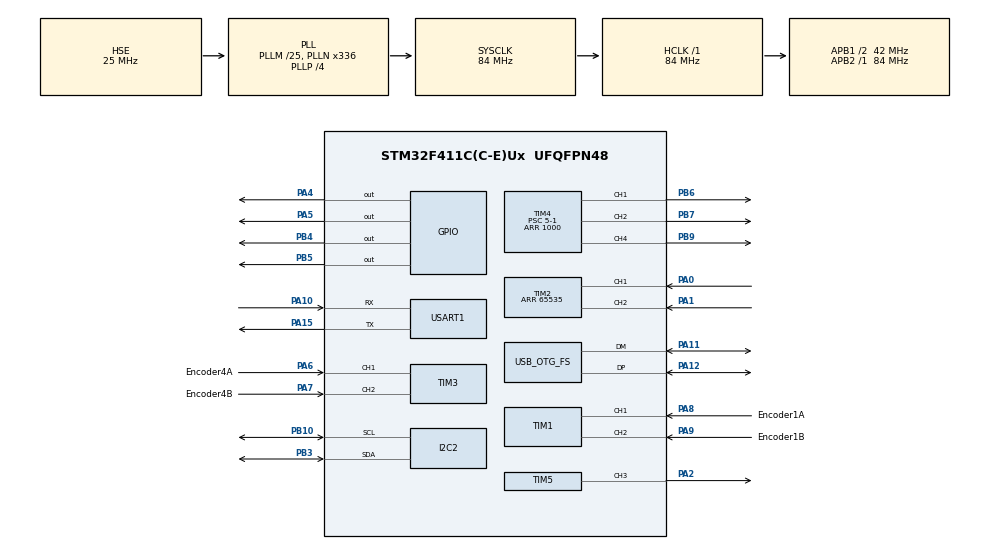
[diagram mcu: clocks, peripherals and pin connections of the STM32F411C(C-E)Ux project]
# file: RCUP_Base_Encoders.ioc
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Dma.Request0=USART1_RX
Dma.USART1_RX.0.Direction=DMA_PERIPH_TO_MEMORY
Dma.USART1_RX.0.FIFOMode=DMA_FIFOMODE_DISABLE
Dma.USART1_RX.0.Instance=DMA2_Stream2
Dma.USART1_RX.0.MemDataAlignment=DMA_MDATAALIGN_BYTE
Dma.USART1_RX.0.MemInc=DMA_MINC_ENABLE
Dma.USART1_RX.0.Mode=DMA_CIRCULAR
Dma.USART1_RX.0.PeriphDataAlignment=DMA_PDATAALIGN_BYTE
Dma.USART1_RX.0.PeriphInc=DMA_PINC_DISABLE
Dma.USART1_RX.0.Priority=DMA_PRIORITY_LOW
Mcu.Family=STM32F4
Mcu.Name=STM32F411C(C-E)Ux
Mcu.Package=UFQFPN48
NVIC.DMA2_Stream2_IRQn=true\:0\:0\:false\:false\:true\:false\:true\:true
NVIC.OTG_FS_IRQn=true\:0\:0\:false\:false\:true\:false\:true\:true
NVIC.PriorityGroup=NVIC_PRIORITYGROUP_4
PA0-WKUP.Signal=S_TIM2_CH1_ETR
PA1.Signal=S_TIM2_CH2
PA10.Mode=Asynchronous
PA10.Signal=USART1_RX
PA11.Mode=Device_Only
PA11.Signal=USB_OTG_FS_DM
PA12.Mode=Device_Only
PA12.Signal=USB_OTG_FS_DP
PA15.Mode=Asynchronous
PA15.Signal=USART1_TX
PA2.Signal=S_TIM5_CH3
PA4.Signal=GPIO_Output
PA5.Signal=GPIO_Output
PA6.GPIO_Label=Encoder4A
PA6.GPIO_PuPd=GPIO_PULLUP
PA6.Signal=S_TIM3_CH1
PA7.GPIO_Label=Encoder4B
PA7.GPIO_PuPd=GPIO_PULLUP
PA7.Signal=S_TIM3_CH2
PA8.GPIO_Label=Encoder1A
PA8.GPIO_PuPd=GPIO_PULLUP
PA8.Signal=S_TIM1_CH1
PA9.GPIO_Label=Encoder1B
PA9.GPIO_PuPd=GPIO_PULLUP
PA9.Signal=S_TIM1_CH2
PB10.GPIO_Pu=GPIO_PULLUP
PB10.Mode=I2C
PB10.Signal=I2C2_SCL
PB3.GPIO_Pu=GPIO_PULLUP
PB3.Mode=I2C
PB3.Signal=I2C2_SDA
PB4.Signal=GPIO_Output
PB5.Signal=GPIO_Output
PB6.Signal=S_TIM4_CH1
PB7.Signal=S_TIM4_CH2
PB9.Signal=S_TIM4_CH4
PH0\ -\ OSC_IN.Mode=HSE-External-Oscillator
PH0\ -\ OSC_IN.Signal=RCC_OSC_IN
PH1\ -\ OSC_OUT.Mode=HSE-External-Oscillator
PH1\ -\ OSC_OUT.Signal=RCC_OSC_OUT
ProjectManager.HeapSize=0x200
ProjectManager.StackSize=0x400
ProjectManager.TargetToolchain=STM32CubeIDE
RCC.48MHZClocksFreq_Value=48000000
RCC.AHBFreq_Value=84000000
RCC.APB1CLKDivider=RCC_HCLK_DIV2
RCC.APB1Freq_Value=42000000
RCC.APB1TimFreq_Value=84000000
RCC.APB2Freq_Value=84000000
RCC.APB2TimFreq_Value=84000000
RCC.CortexFreq_Value=84000000
RCC.HCLKFreq_Value=84000000
RCC.HSE_VALUE=25000000
RCC.HSI_VALUE=16000000
RCC.LSE_VALUE=32768
RCC.PLLM=25
RCC.PLLN=336
RCC.PLLP=RCC_PLLP_DIV4
RCC.PLLQ=7
RCC.SYSCLKFreq_VALUE=84000000
RCC.SYSCLKSource=RCC_SYSCLKSOURCE_PLLCLK
RCC.VCOOutputFreq_Value=336000000
SH.S_TIM1_CH1.0=TIM1_CH1,Encoder_Interface
SH.S_TIM1_CH2.0=TIM1_CH2,Encoder_Interface
SH.S_TIM2_CH1_ETR.0=TIM2_CH1,Encoder_Interface
SH.S_TIM2_CH2.0=TIM2_CH2,Encoder_Interface
SH.S_TIM3_CH1.0=TIM3_CH1,Encoder_Interface
SH.S_TIM3_CH2.0=TIM3_CH2,Encoder_Interface
SH.S_TIM4_CH1.0=TIM4_CH1,PWM Generation1 CH1
SH.S_TIM4_CH2.0=TIM4_CH2,PWM Generation2 CH2
SH.S_TIM4_CH4.0=TIM4_CH4,PWM Generation4 CH4
SH.S_TIM5_CH3.0=TIM5_CH3,PWM Generation3 CH3
TIM1.AutoReloadPreload=TIM_AUTORELOAD_PRELOAD_ENABLE
TIM1.EncoderMode=TIM_ENCODERMODE_TI12
TIM1.IC1Filter=5
TIM1.IC2Filter=5
TIM2.AutoReloadPreload=TIM_AUTORELOAD_PRELOAD_ENABLE
TIM2.EncoderMode=TIM_ENCODERMODE_TI12
TIM2.IC1Filter=5
TIM2.Period=65535
TIM3.AutoReloadPreload=TIM_AUTORELOAD_PRELOAD_ENABLE
TIM3.EncoderMode=TIM_ENCODERMODE_TI12
TIM3.IC1Filter=5
TIM3.IC2Filter=5
TIM4.Channel-PWM\ Generation1\ CH1=TIM_CHANNEL_1
TIM4.Channel-PWM\ Generation2\ CH2=TIM_CHANNEL_2
TIM4.Channel-PWM\ Generation4\ CH4=TIM_CHANNEL_4
TIM4.Period=1000
TIM4.Prescaler=5-1
TIM5.Channel-PWM\ Generation3\ CH3=TIM_CHANNEL_3
TIM5.Period=1000
TIM5.Prescaler=5-1
USART1.VirtualMode=VM_ASYNC
USB_DEVICE.CLASS_NAME_FS=CDC
USB_DEVICE.VirtualMode=Cdc
USB_DEVICE.VirtualModeFS=Cdc_FS
USB_OTG_FS.VirtualMode=Device_Only
VP_USB_DEVICE_VS_USB_DEVICE_CDC_FS.Mode=CDC_FS
board=custom

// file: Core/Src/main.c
/* USER CODE BEGIN Header */
/**
  ******************************************************************************
  * @file           : main.c
  * @brief          : Main program body
  ******************************************************************************
  * @attention
  *
  * Copyright (c) 2025 STMicroelectronics.
  * All rights reserved.
  *
  * This software is licensed under terms that can be found in the LICENSE file
  * in the root directory of this software component.
  * If no LICENSE file comes with this software, it is provided AS-IS.
  *
  ******************************************************************************
  */
/* USER CODE END Header */
#include "main.h"
#include "usb_device.h"

/* USER CODE BEGIN Includes */
#include "stdio.h"
#include "usbd_cdc_if.h"
#include "usbd_cdc.h"
#include "string.h"
#include "math.h"   // for DEG2RAD
#include <stdlib.h>

#include "bno055.h"     // <--- ADD THIS
#include "cJSON.h"      // <--- ADD THIS
#include "stdio.h"
#include "usbd_cdc_if.h"
#include "bno055.h"
#include "bno055_stm32.h"
#include "usbd_cdc.h"
#include "string.h"
#include "math.h"   // for DEG2RAD
#include <stdlib.h>

#include "cJSON.h"
/* USER CODE END Includes */

/* USER CODE BEGIN PD */
#define ONE_PERIOD 65536
#define HALF_PERIOD 32768
#define NUM_ENCODERS 3   // Number of encoders

#define DEG2RAD 0.017453292519943295  /* pi / 180 */

// Motor direction pins
#define M1   GPIO_PIN_4 //PB6 PWM
#define PORT_1 GPIOB

#define M2   GPIO_PIN_5//PB7 PWM
#define PORT_2 GPIOB

#define M3   GPIO_PIN_5//PA2 PWM
#define PORT_3 GPIOA

#define M4   GPIO_PIN_4//PB9 PWM
#define PORT_4 GPIOA

/* USER CODE END PD */

/* USER CODE BEGIN PM */
extern uint8_t usb_rx_buffer[128];
extern uint32_t usb_rx_length;
extern uint8_t usb_rx_flag;

#define MAGIC_KEY 0x12345678

char STM_Address[32] = "STM_ENCODER.PWM";   // your string

int pwm[4] = {0, 0, 0, 0};  // hardcoded PWM values
int received_array[4] = {69};

volatile int loop_time_ms = 0 ;

uint16_t tx_buf[3];

int32_t rx_buf[4];   // 4×4 = 16 bytes
volatile uint8_t rx_complete = 0;

int32_t encoder[3] = {2,3,9};
volatile bno055_vector_t g_euler;      // yaw/roll/pitch
volatile bno055_vector_t g_quat;       // w/x/y/z
volatile bno055_vector_t g_linaccel;   // p/q/r  (x/y/z)
/* USER CODE END PM */

I2C_HandleTypeDef hi2c2;

TIM_HandleTypeDef htim1;
TIM_HandleTypeDef htim2;
TIM_HandleTypeDef htim3;
TIM_HandleTypeDef htim4;
TIM_HandleTypeDef htim5;

UART_HandleTypeDef huart1;
DMA_HandleTypeDef hdma_usart1_rx;

/* USER CODE BEGIN PV */
uint8_t buffer[100];
char message[1024];
char mess[100];

//volatile bno055_vector_t g_euler;      // yaw/roll/pitch
//volatile bno055_vector_t g_quat;       // w/x/y/z
//volatile bno055_vector_t g_linaccel;   // p/q/r  (x/y/z)

/* USER CODE END PV */

void SystemClock_Config(void);
static void MX_GPIO_Init(void);
static void MX_DMA_Init(void);
static void MX_TIM1_Init(void);
static void MX_TIM2_Init(void);
static void MX_TIM3_Init(void);
static void MX_I2C2_Init(void);
static void MX_USART1_UART_Init(void);
static void MX_TIM4_Init(void);
static void MX_TIM5_Init(void);

/* USER CODE BEGIN 0 */
int _write(int file, char *ptr, int len) {
	int DataIdx;
	for (DataIdx = 0; DataIdx < len; DataIdx++) {
		ITM_SendChar(*ptr++);
	}
	return len;
}

// Define constants for period wrapping
#define ONE_PERIOD 65536
#define HALF_PERIOD 32768
#define NUM_ENCODERS 3   // Number of encoders

typedef struct {
	volatile uint16_t timer_count;   // Current timer count (from hardware)
	volatile int32_t prev_unwrapped; // Previous unwrapped count
	volatile int32_t unwrapped_count; // Accumulated unwrapped count
} Encoder;

// Initialize an array of encoders
Encoder encoders[NUM_ENCODERS];

void unwrap_encoder(Encoder *encoder) {
	// Get the current 16-bit count and previous unwrapped count
	uint16_t current_count = encoder->timer_count;
	int32_t *prev = &(encoder->prev_unwrapped);

	int32_t c32 = (int32_t) current_count - HALF_PERIOD; // Remove half period to determine sign of the wrap
	int32_t dif = (c32 - *prev);              // Calculate the difference

	// Wrap difference from -HALF_PERIOD to HALF_PERIOD
	int32_t mod_dif = ((dif + HALF_PERIOD) % ONE_PERIOD) - HALF_PERIOD;
	if (dif < -HALF_PERIOD) {
		mod_dif += ONE_PERIOD; // Account for mod of negative number behavior in C
	}

	// Update unwrapped count and store it in the encoder structure
	int32_t unwrapped = *prev + mod_dif;
	encoder->unwrapped_count = unwrapped + HALF_PERIOD; // Store unwrapped count
	*prev = unwrapped;  // Update previous unwrapped count
}

void update_encoders(void) {
	// Read current counts from hardware timers (assuming you are using TIM1, TIM2, TIM3, and TIM4)
	encoders[2].timer_count = (TIM3->CNT);
	encoders[0].timer_count = (TIM1->CNT);
	encoders[1].timer_count = (TIM2->CNT);
	//encoders[3].timer_count = (TIM4->CNT);

	// Update the unwrapped count for each encoder
	for (int i = 0; i < NUM_ENCODERS; i++){
		unwrap_encoder(&encoders[i]);  // Call unwrap_encoder for each encoder

	}
}

/**
 * @brief Set speed and direction of 4 amotors
 * @param motor_speeds: array of 4 int8_t values (-100 to 100)
 */

void setMotors(int motor_speeds[4])
{
    // Safety limit
    for(int i = 0; i < 4; i++)
    {
        if (motor_speeds[i] > 80 || motor_speeds[i] < -80)
        {
            motor_speeds[0] = 0;
            motor_speeds[1] = 0;
            motor_speeds[2] = 0;
            motor_speeds[3] = 0;
            break;
        }
    }

    int duty;
    int dir;

    // Motor 1
    duty = abs(motor_speeds[0]) * 10;
    dir  = motor_speeds[0] > 0 ? 1 : 0;
    __HAL_TIM_SET_COMPARE(&htim4, TIM_CHANNEL_1, duty);
    HAL_GPIO_WritePin(PORT_1, M1, dir);

    // Motor 2
    duty = abs(motor_speeds[1]) * 10;
    dir  = motor_speeds[1] > 0 ? 1 : 0;
    __HAL_TIM_SET_COMPARE(&htim4, TIM_CHANNEL_2, duty);
    HAL_GPIO_WritePin(PORT_2, M2, dir);

    // Motor 3
    duty = abs(motor_speeds[2]) * 10;
    dir  = motor_speeds[2] > 0 ? 1 : 0;
    __HAL_TIM_SET_COMPARE(&htim5, TIM_CHANNEL_3, duty);
    HAL_GPIO_WritePin(PORT_3, M3, dir);

    // Motor 4
    duty = abs(motor_speeds[3]) * 10;
    dir  = motor_speeds[3] > 0 ? 1 : 0;
    __HAL_TIM_SET_COMPARE(&htim4, TIM_CHANNEL_4, duty);
    HAL_GPIO_WritePin(PORT_4, M4, dir);
}

//void setMotors(int motor_speeds[4])
//{
//	//software limit for motor speed value
//	for(int i = 0 ; i <4 ; i++){
//		if(motor_speeds[i]>80)  {motor_speeds[i] = 0;}
//	}
//
//
//
//	int p[4];
//
//	p[0] = abs(motor_speeds[0])*10;
//	int dir1 = motor_speeds[0]>0 ? 1 : 0 ;
//	__HAL_TIM_SET_COMPARE(&htim4, TIM_CHANNEL_1 ,p[0] );
//	HAL_GPIO_WritePin(PORT_1, M1, dir1);
//
//	p[1] = abs(motor_speeds[1])*10;
//	int dir2 = motor_speeds[1]>0 ? 1 : 0 ;
//	__HAL_TIM_SET_COMPARE(&htim4, TIM_CHANNEL_2 ,p[1] );
//	HAL_GPIO_WritePin(PORT_2, M2, dir2);
//
//
//	p[2] = abs(motor_speeds[2])*10;
//	int dir3 = motor_speeds[2]>0 ? 1 : 0 ;
//	__HAL_TIM_SET_COMPARE(&htim5, TIM_CHANNEL_3 ,p[2] );
//	HAL_GPIO_WritePin(PORT_3, M3, dir3);
//
//	p[3] = abs(motor_speeds[3])*10;
//	int dir4 = motor_speeds[3]>0 ? 1 : 0 ;
//	__HAL_TIM_SET_COMPARE(&htim4, TIM_CHANNEL_4 ,p[3] );
//	HAL_GPIO_WritePin(PORT_4, M4, dir4);
//
//
//
//
////	__HAL_TIM_SET_COMPARE(&htim4, TIM_CHANNEL_1 , motor_speeds[0] );
////	__HAL_TIM_SET_COMPARE(&htim5, TIM_CHANNEL_3 , motor_speeds[1] );
////	__HAL_TIM_SET_COMPARE(&htim4, TIM_CHANNEL_2 , motor_speeds[2] );
////	__HAL_TIM_SET_COMPARE(&htim4, TIM_CHANNEL_4 , motor_speeds[3] );
//}

//void HAL_UART_RxCpltCallback(UART_HandleTypeDef *huart)
//{
//    if (huart->Instance == USART1)
//    {
//        rx_complete = 1;
//
//        // VERY IMPORTANT — restart DMA correctly
//        HAL_UART_Receive_DMA(&huart1, (uint8_t*)rx_buf, sizeof(rx_buf));
//    }
//}

//
//
void parse_json_pwm(const char *json_str)

{
	 cJSON *root = cJSON_Parse(json_str);
	    if(!root) {
	        const char *err = "Invalid JSON\n";
	        CDC_Transmit_FS((uint8_t*)err, strlen(err));
	        return;
	    }

	    const char *keys[] = {"pwm1","pwm2","pwm3","pwm4"};
	    char msg[64];

	    for(int i=0;i<4;i++){
	        cJSON *item = cJSON_GetObjectItem(root, keys[i]);
	        if(cJSON_IsNumber(item)){
	            pwm[i] = item->valueint;
	        }
	    }

	    sprintf(msg,"PWM: %d %d %d %d\n", pwm[0], pwm[1], pwm[2], pwm[3]);
	    CDC_Transmit_FS((uint8_t*)msg, strlen(msg));

	    cJSON_Delete(root);
}

//void send_Encoder(void){
//
//	int32_t values[3];
//	values[0] = encoders[0].unwrapped_count;
//	values[1] = encoders[1].unwrapped_count;
//	values[2] =encoders[2].unwrapped_count;
//
//
//	HAL_UART_Transmit(&huart1, (uint8_t*)values, sizeof(values), HAL_MAX_DELAY);
//
//}

void send_Encoder(void)
{
    int32_t values[3];

    values[0] = encoders[0].unwrapped_count;
    values[1] = encoders[1].unwrapped_count;
    values[2] = encoders[2].unwrapped_count;

    HAL_UART_Transmit(&huart1, (uint8_t*)values, sizeof(values), HAL_MAX_DELAY);
}
//
//void send_encoder_packet(void)
//{
//    int32_t packet[4];
//    packet[0] = MAGIC_KEY;
//    packet[1] = encoders[0].unwrapped_count;
//    packet[2] = encoders[1].unwrapped_count;
//    packet[3] = encoders[2].unwrapped_count;
//
//    HAL_UART_Transmit(&huart1, (uint8_t*)packet, sizeof(packet), HAL_MAX_DELAY);
//}
//void send_encoders_blocking(void)
//{
//    int32_t packet[3];
//    packet[0] = encoders[0].unwrapped_count;
//    packet[1] = encoders[1].unwrapped_count;
//    packet[2] = encoders[2].unwrapped_count;
//
//    HAL_UART_Transmit(&huart1, (uint8_t*)packet, sizeof(packet), HAL_MAX_DELAY);
//}

//void send_Encoder(void){
//
//	int32_t values[3];
//
//	for(int i = 0 ; i<3 ; i++){
//		values[i] = encoders[i].unwrapped_count;
//	}
//
//	HAL_UART_Transmit(&huart1, (uint8_t*)values, sizeof(values), HAL_MAX_DELAY);
//
//}

/* USER CODE END 0 */

int main(void)
{

  /* MCU Configuration--------------------------------------------------------*/

  /* Reset of all peripherals, Initializes the Flash interface and the Systick. */
  HAL_Init();

  /* Configure the system clock */
  SystemClock_Config();

  /* Initialize all configured peripherals */
  MX_GPIO_Init();
  MX_DMA_Init();
  MX_TIM1_Init();
  MX_TIM2_Init();
  MX_TIM3_Init();
  MX_USB_DEVICE_Init();
  MX_I2C2_Init();
  MX_USART1_UART_Init();
  MX_TIM4_Init();
  MX_TIM5_Init();
  /* USER CODE BEGIN 2 */

  // Start PWM channels once at init
  HAL_TIM_PWM_Start(&htim4, TIM_CHANNEL_1);
  HAL_TIM_PWM_Start(&htim4, TIM_CHANNEL_2);
  HAL_TIM_PWM_Start(&htim5, TIM_CHANNEL_3);
  HAL_TIM_PWM_Start(&htim4, TIM_CHANNEL_4);

  // Control motors

	bno055_assignI2C(&hi2c2);
	bno055_setup();
	bno055_enableExternalCrystal();
	bno055_setOperationModeNDOF();
	HAL_Delay(10);

	HAL_TIM_Encoder_Start(&htim2, TIM_CHANNEL_ALL);
	HAL_TIM_Encoder_Start(&htim1, TIM_CHANNEL_ALL);
	HAL_TIM_Encoder_Start(&htim3, TIM_CHANNEL_ALL);

	// HAL_UART_Receive_DMA(&huart1, (uint8_t*)rx_buf, sizeof(rx_buf));

  /* USER CODE END 2 */

  /* Infinite loop */
  /* USER CODE BEGIN WHILE */
  while (1)
  {

//
//	  __HAL_TIM_SET_COMPARE(&htim4, TIM_CHANNEL_2, pwm[1]);
//
    setMotors(pwm);
    /* Take timestamp at measurement moment */
    update_encoders();

    uint32_t t_now = HAL_GetTick();

    /* Build message */
    sprintf(message,
        "E{"
        "\"t\":%lu,"
        "\"a\":%ld,"
        "\"b\":%ld,"
        "\"c\":%ld"
        "}\r\n",
        t_now,
        encoders[0].unwrapped_count,
        encoders[1].unwrapped_count,
        encoders[2].unwrapped_count
    );
    //send_Encoder();
//
//

//	  if (rx_complete)
//	  {
//	      rx_complete = 0;
//
//	      pwm[0] = rx_buf[0];
//	      pwm[1] = rx_buf[1];
//	      pwm[2] = rx_buf[2];
//	      pwm[3] = rx_buf[3];
//
////	      char msg[64];
////	      sprintf(msg, "RX PWM: %u %u %u %u\r\n",
////	              pwm[0], pwm[1], pwm[2], pwm[3]);
////
////	      CDC_Transmit_FS((uint8_t*)msg, strlen(msg));
//	  }

   // send_encoder_values_Uart();
//		sprintf(mess, "{\"en1\": %ld, \"en2\": %ld, \"en3\": %ld}\r\n",
//		        encoders[0].unwrapped_count,
//		        encoders[1].unwrapped_count,
//		        encoders[2].unwrapped_count);
//		CDC_Transmit_FS(mess, strlen(mess));

        /* read IMU vectors */
//        bno055_vector_t v_euler = bno055_getVectorEuler();        // v_euler.x = yaw (deg), v_euler.y = roll (deg), v_euler.z = pitch (deg)
//        bno055_vector_t v_quat  = bno055_getVectorQuaternion();   // v_quat.w, v_quat.x, v_quat.y, v_quat.z  (library stores w,x,y,z)
//        bno055_vector_t v_lin   = bno055_getVectorLinearAccel();  // linear accel in m/s^2
//        bno055_vector_t v_gyro  = bno055_getVectorGyroscope();   // gyro in deg/s (x=roll rate, y=pitch rate, z=yaw rate)
//
//
//        /* convert gyro to rad/s */
//        double gyro_x_rad = ((double)v_gyro.x) * DEG2RAD;   // angular_velocity.x (rad/s)
//        double gyro_y_rad = ((double)v_gyro.y) * DEG2RAD;   // angular_velocity.y (rad/s)
//        double gyro_z_rad = ((double)v_gyro.z) * DEG2RAD;   // angular_velocity.z (rad/s)

        /* Build JSON:
           encoders a-d,
           orientation quaternion (x,y,z,w) -> sensor_msgs/Imu order,
           angular_velocity (x,y,z) in rad/s,
           linear_acceleration (x,y,z) in m/s^2,
           debug yaw/roll/pitch in degrees
        */
//        sprintf(message,
//                "{"
//                "\"a\": %ld, \"b\": %ld, \"c\": %ld, "
//                "\"orientation_x\": %.6f, \"orientation_y\": %.6f, \"orientation_z\": %.6f, \"orientation_w\": %.6f, "
//                "\"angular_velocity_x\": %.6f, \"angular_velocity_y\": %.6f, \"angular_velocity_z\": %.6f, "
//                "\"linear_acceleration_x\": %.6f, \"linear_acceleration_y\": %.6f, \"linear_acceleration_z\": %.6f, "
//                "\"yaw_deg\": %.2f, \"roll_deg\": %.2f, \"pitch_deg\": %.2f"
//                "}\r\n",
//                encoders[0].unwrapped_count, encoders[1].unwrapped_count,
//                encoders[2].unwrapped_count,
//                /* quaternion -> use x,y,z,w order for ROS */
//                (double)v_quat.x, (double)v_quat.y, (double)v_quat.z, (double)v_quat.w,
//                /* gyro in rad/s */
//                gyro_x_rad, gyro_y_rad, gyro_z_rad,
//                /* linear accel */
//                (double)v_lin.x, (double)v_lin.y, (double)v_lin.z,
//                /* debug Euler (library order: yaw, roll, pitch in degrees) */
//                (double)v_euler.x, (double)v_euler.y, (double)v_euler.z
//            );
//        sprintf(message,
//            "E{"
//            "\"a\": %ld, \"b\": %ld, \"c\": %ld"
//            "}\r\n",
//            encoders[0].unwrapped_count,
//            encoders[1].unwrapped_count,
//            encoders[2].unwrapped_count
//        );
//
////        }
//        int t_now = HAL_GetTick();

//
//        sprintf(message,
//            "{"
//            "\"Name\": \"%s\", "                                  // <--- NEW FIRST FIELD
//            "\"time_ms\": %lu, "
//            "\"a\": %ld, \"b\": %ld, \"c\": %ld, "
//            "\"orientation_x\": %.6f, \"orientation_y\": %.6f, \"orientation_z\": %.6f, \"orientation_w\": %.6f, "
//            "\"angular_velocity_x\": %.6f, \"angular_velocity_y\": %.6f, \"angular_velocity_z\": %.6f, "
//            "\"linear_acceleration_x\": %.6f, \"linear_acceleration_y\": %.6f, \"linear_acceleration_z\": %.6f, "
//            "\"yaw_deg\": %.2f, \"roll_deg\": %.2f, \"pitch_deg\": %.2f"
//            "}\r\n",
//
//			STM_Address,                 // <--- FIRST ARGUMENT (STRING)
//            t_now,
//            encoders[0].unwrapped_count, encoders[1].unwrapped_count, encoders[2].unwrapped_count,
//            (double)v_quat.x, (double)v_quat.y, (double)v_quat.z, (double)v_quat.w,
//            gyro_x_rad, gyro_y_rad, gyro_z_rad,
//            (double)v_lin.x, (double)v_lin.y, (double)v_lin.z,
//            (double)v_euler.x, (double)v_euler.y, (double)v_euler.z
//        );

//
//
//
//
//        t_now = HAL_GetTick();   // returns ms
		while (CDC_Transmit_FS((uint8_t*)message, strlen(message)) == USBD_BUSY) {
		      HAL_Delay(1);
		    }

//
//
        if (usb_rx_flag)
        {
            usb_rx_flag = 0;
            usb_rx_buffer[usb_rx_length] = '\0';

           parse_json_pwm((char*)usb_rx_buffer);

            // Example: send acknowledgment back
//            char reply[64];
//            sprintf(reply, "Got: %d,%d,%d,%d\r\n",
//                    pwm[0], pwm[1],
//                    pwm[2], pwm[3]);
//            CDC_Transmit_FS((uint8_t*)reply, strlen(reply));
        }

  }

    /* USER CODE END WHILE */

}

void SystemClock_Config(void)
{
  RCC_OscInitTypeDef RCC_OscInitStruct = {0};
  RCC_ClkInitTypeDef RCC_ClkInitStruct = {0};

  /** Configure the main internal regulator output voltage
  */
  __HAL_RCC_PWR_CLK_ENABLE();
  __HAL_PWR_VOLTAGESCALING_CONFIG(PWR_REGULATOR_VOLTAGE_SCALE1);

  /** Initializes the RCC Oscillators according to the specified parameters
  * in the RCC_OscInitTypeDef structure.
  */
  RCC_OscInitStruct.OscillatorType = RCC_OSCILLATORTYPE_HSE;
  RCC_OscInitStruct.HSEState = RCC_HSE_ON;
  RCC_OscInitStruct.PLL.PLLState = RCC_PLL_ON;
  RCC_OscInitStruct.PLL.PLLSource = RCC_PLLSOURCE_HSE;
  RCC_OscInitStruct.PLL.PLLM = 25;
  RCC_OscInitStruct.PLL.PLLN = 336;
  RCC_OscInitStruct.PLL.PLLP = RCC_PLLP_DIV4;
  RCC_OscInitStruct.PLL.PLLQ = 7;
  if (HAL_RCC_OscConfig(&RCC_OscInitStruct) != HAL_OK)
  {
    Error_Handler();
  }

  /** Initializes the CPU, AHB and APB buses clocks
  */
  RCC_ClkInitStruct.ClockType = RCC_CLOCKTYPE_HCLK|RCC_CLOCKTYPE_SYSCLK
                              |RCC_CLOCKTYPE_PCLK1|RCC_CLOCKTYPE_PCLK2;
  RCC_ClkInitStruct.SYSCLKSource = RCC_SYSCLKSOURCE_PLLCLK;
  RCC_ClkInitStruct.AHBCLKDivider = RCC_SYSCLK_DIV1;
  RCC_ClkInitStruct.APB1CLKDivider = RCC_HCLK_DIV2;
  RCC_ClkInitStruct.APB2CLKDivider = RCC_HCLK_DIV1;

  if (HAL_RCC_ClockConfig(&RCC_ClkInitStruct, FLASH_LATENCY_2) != HAL_OK)
  {
    Error_Handler();
  }
}

static void MX_I2C2_Init(void)
{

  hi2c2.Instance = I2C2;
  hi2c2.Init.ClockSpeed = 100000;
  hi2c2.Init.DutyCycle = I2C_DUTYCYCLE_2;
  hi2c2.Init.OwnAddress1 = 0;
  hi2c2.Init.AddressingMode = I2C_ADDRESSINGMODE_7BIT;
  hi2c2.Init.DualAddressMode = I2C_DUALADDRESS_DISABLE;
  hi2c2.Init.OwnAddress2 = 0;
  hi2c2.Init.GeneralCallMode = I2C_GENERALCALL_DISABLE;
  hi2c2.Init.NoStretchMode = I2C_NOSTRETCH_DISABLE;
  if (HAL_I2C_Init(&hi2c2) != HAL_OK)
  {
    Error_Handler();
  }

}

static void MX_TIM1_Init(void)
{

  TIM_Encoder_InitTypeDef sConfig = {0};
  TIM_MasterConfigTypeDef sMasterConfig = {0};

  htim1.Instance = TIM1;
  htim1.Init.Prescaler = 0;
  htim1.Init.CounterMode = TIM_COUNTERMODE_UP;
  htim1.Init.Period = 65535;
  htim1.Init.ClockDivision = TIM_CLOCKDIVISION_DIV1;
  htim1.Init.RepetitionCounter = 0;
  htim1.Init.AutoReloadPreload = TIM_AUTORELOAD_PRELOAD_ENABLE;
  sConfig.EncoderMode = TIM_ENCODERMODE_TI12;
  sConfig.IC1Polarity = TIM_ICPOLARITY_RISING;
  sConfig.IC1Selection = TIM_ICSELECTION_DIRECTTI;
  sConfig.IC1Prescaler = TIM_ICPSC_DIV1;
  sConfig.IC1Filter = 5;
  sConfig.IC2Polarity = TIM_ICPOLARITY_RISING;
  sConfig.IC2Selection = TIM_ICSELECTION_DIRECTTI;
  sConfig.IC2Prescaler = TIM_ICPSC_DIV1;
  sConfig.IC2Filter = 5;
  if (HAL_TIM_Encoder_Init(&htim1, &sConfig) != HAL_OK)
  {
    Error_Handler();
  }
  sMasterConfig.MasterOutputTrigger = TIM_TRGO_RESET;
  sMasterConfig.MasterSlaveMode = TIM_MASTERSLAVEMODE_DISABLE;
  if (HAL_TIMEx_MasterConfigSynchronization(&htim1, &sMasterConfig) != HAL_OK)
  {
    Error_Handler();
  }

}

static void MX_TIM2_Init(void)
{

  TIM_Encoder_InitTypeDef sConfig = {0};
  TIM_MasterConfigTypeDef sMasterConfig = {0};

  htim2.Instance = TIM2;
  htim2.Init.Prescaler = 0;
  htim2.Init.CounterMode = TIM_COUNTERMODE_UP;
  htim2.Init.Period = 65535;
  htim2.Init.ClockDivision = TIM_CLOCKDIVISION_DIV1;
  htim2.Init.AutoReloadPreload = TIM_AUTORELOAD_PRELOAD_ENABLE;
  sConfig.EncoderMode = TIM_ENCODERMODE_TI12;
  sConfig.IC1Polarity = TIM_ICPOLARITY_RISING;
  sConfig.IC1Selection = TIM_ICSELECTION_DIRECTTI;
  sConfig.IC1Prescaler = TIM_ICPSC_DIV1;
  sConfig.IC1Filter = 5;
  sConfig.IC2Polarity = TIM_ICPOLARITY_RISING;
  sConfig.IC2Selection = TIM_ICSELECTION_DIRECTTI;
  sConfig.IC2Prescaler = TIM_ICPSC_DIV1;
  sConfig.IC2Filter = 0;
  if (HAL_TIM_Encoder_Init(&htim2, &sConfig) != HAL_OK)
  {
    Error_Handler();
  }
  sMasterConfig.MasterOutputTrigger = TIM_TRGO_RESET;
  sMasterConfig.MasterSlaveMode = TIM_MASTERSLAVEMODE_DISABLE;
  if (HAL_TIMEx_MasterConfigSynchronization(&htim2, &sMasterConfig) != HAL_OK)
  {
    Error_Handler();
  }

}

static void MX_TIM3_Init(void)
{

  TIM_Encoder_InitTypeDef sConfig = {0};
  TIM_MasterConfigTypeDef sMasterConfig = {0};

  htim3.Instance = TIM3;
  htim3.Init.Prescaler = 0;
  htim3.Init.CounterMode = TIM_COUNTERMODE_UP;
  htim3.Init.Period = 65535;
  htim3.Init.ClockDivision = TIM_CLOCKDIVISION_DIV1;
  htim3.Init.AutoReloadPreload = TIM_AUTORELOAD_PRELOAD_ENABLE;
  sConfig.EncoderMode = TIM_ENCODERMODE_TI12;
  sConfig.IC1Polarity = TIM_ICPOLARITY_RISING;
  sConfig.IC1Selection = TIM_ICSELECTION_DIRECTTI;
  sConfig.IC1Prescaler = TIM_ICPSC_DIV1;
  sConfig.IC1Filter = 5;
  sConfig.IC2Polarity = TIM_ICPOLARITY_RISING;
  sConfig.IC2Selection = TIM_ICSELECTION_DIRECTTI;
  sConfig.IC2Prescaler = TIM_ICPSC_DIV1;
  sConfig.IC2Filter = 5;
  if (HAL_TIM_Encoder_Init(&htim3, &sConfig) != HAL_OK)
  {
    Error_Handler();
  }
  sMasterConfig.MasterOutputTrigger = TIM_TRGO_RESET;
  sMasterConfig.MasterSlaveMode = TIM_MASTERSLAVEMODE_DISABLE;
  if (HAL_TIMEx_MasterConfigSynchronization(&htim3, &sMasterConfig) != HAL_OK)
  {
    Error_Handler();
  }

}

static void MX_TIM4_Init(void)
{

  TIM_MasterConfigTypeDef sMasterConfig = {0};
  TIM_OC_InitTypeDef sConfigOC = {0};

  htim4.Instance = TIM4;
  htim4.Init.Prescaler = 5-1;
  htim4.Init.CounterMode = TIM_COUNTERMODE_UP;
  htim4.Init.Period = 1000;
  htim4.Init.ClockDivision = TIM_CLOCKDIVISION_DIV1;
  htim4.Init.AutoReloadPreload = TIM_AUTORELOAD_PRELOAD_DISABLE;
  if (HAL_TIM_PWM_Init(&htim4) != HAL_OK)
  {
    Error_Handler();
  }
  sMasterConfig.MasterOutputTrigger = TIM_TRGO_RESET;
  sMasterConfig.MasterSlaveMode = TIM_MASTERSLAVEMODE_DISABLE;
  if (HAL_TIMEx_MasterConfigSynchronization(&htim4, &sMasterConfig) != HAL_OK)
  {
    Error_Handler();
  }
  sConfigOC.OCMode = TIM_OCMODE_PWM1;
  sConfigOC.Pulse = 0;
  sConfigOC.OCPolarity = TIM_OCPOLARITY_HIGH;
  sConfigOC.OCFastMode = TIM_OCFAST_DISABLE;
  if (HAL_TIM_PWM_ConfigChannel(&htim4, &sConfigOC, TIM_CHANNEL_1) != HAL_OK)
  {
    Error_Handler();
  }
  if (HAL_TIM_PWM_ConfigChannel(&htim4, &sConfigOC, TIM_CHANNEL_2) != HAL_OK)
  {
    Error_Handler();
  }
  if (HAL_TIM_PWM_ConfigChannel(&htim4, &sConfigOC, TIM_CHANNEL_4) != HAL_OK)
  {
    Error_Handler();
  }
  HAL_TIM_MspPostInit(&htim4);

}

static void MX_TIM5_Init(void)
{

  TIM_MasterConfigTypeDef sMasterConfig = {0};
  TIM_OC_InitTypeDef sConfigOC = {0};

  htim5.Instance = TIM5;
  htim5.Init.Prescaler = 5-1;
  htim5.Init.CounterMode = TIM_COUNTERMODE_UP;
  htim5.Init.Period = 1000;
  htim5.Init.ClockDivision = TIM_CLOCKDIVISION_DIV1;
  htim5.Init.AutoReloadPreload = TIM_AUTORELOAD_PRELOAD_DISABLE;
  if (HAL_TIM_PWM_Init(&htim5) != HAL_OK)
  {
    Error_Handler();
  }
  sMasterConfig.MasterOutputTrigger = TIM_TRGO_RESET;
  sMasterConfig.MasterSlaveMode = TIM_MASTERSLAVEMODE_DISABLE;
  if (HAL_TIMEx_MasterConfigSynchronization(&htim5, &sMasterConfig) != HAL_OK)
  {
    Error_Handler();
  }
  sConfigOC.OCMode = TIM_OCMODE_PWM1;
  sConfigOC.Pulse = 0;
  sConfigOC.OCPolarity = TIM_OCPOLARITY_HIGH;
  sConfigOC.OCFastMode = TIM_OCFAST_DISABLE;
  if (HAL_TIM_PWM_ConfigChannel(&htim5, &sConfigOC, TIM_CHANNEL_3) != HAL_OK)
  {
    Error_Handler();
  }
  HAL_TIM_MspPostInit(&htim5);

}

static void MX_USART1_UART_Init(void)
{

  huart1.Instance = USART1;
  huart1.Init.BaudRate = 115200;
  huart1.Init.WordLength = UART_WORDLENGTH_8B;
  huart1.Init.StopBits = UART_STOPBITS_1;
  huart1.Init.Parity = UART_PARITY_NONE;
  huart1.Init.Mode = UART_MODE_TX_RX;
  huart1.Init.HwFlowCtl = UART_HWCONTROL_NONE;
  huart1.Init.OverSampling = UART_OVERSAMPLING_16;
  if (HAL_UART_Init(&huart1) != HAL_OK)
  {
    Error_Handler();
  }

}

static void MX_DMA_Init(void)
{

  /* DMA controller clock enable */
  __HAL_RCC_DMA2_CLK_ENABLE();

  /* DMA interrupt init */
  /* DMA2_Stream2_IRQn interrupt configuration */
  HAL_NVIC_SetPriority(DMA2_Stream2_IRQn, 0, 0);
  HAL_NVIC_EnableIRQ(DMA2_Stream2_IRQn);

}

static void MX_GPIO_Init(void)
{
  GPIO_InitTypeDef GPIO_InitStruct = {0};

  /* GPIO Ports Clock Enable */
  __HAL_RCC_GPIOH_CLK_ENABLE();
  __HAL_RCC_GPIOA_CLK_ENABLE();
  __HAL_RCC_GPIOB_CLK_ENABLE();

  /*Configure GPIO pin Output Level */
  HAL_GPIO_WritePin(GPIOA, GPIO_PIN_4|GPIO_PIN_5, GPIO_PIN_RESET);

  /*Configure GPIO pin Output Level */
  HAL_GPIO_WritePin(GPIOB, GPIO_PIN_4|GPIO_PIN_5, GPIO_PIN_RESET);

  /*Configure GPIO pins : PA4 PA5 */
  GPIO_InitStruct.Pin = GPIO_PIN_4|GPIO_PIN_5;
  GPIO_InitStruct.Mode = GPIO_MODE_OUTPUT_PP;
  GPIO_InitStruct.Pull = GPIO_NOPULL;
  GPIO_InitStruct.Speed = GPIO_SPEED_FREQ_LOW;
  HAL_GPIO_Init(GPIOA, &GPIO_InitStruct);

  /*Configure GPIO pins : PB4 PB5 */
  GPIO_InitStruct.Pin = GPIO_PIN_4|GPIO_PIN_5;
  GPIO_InitStruct.Mode = GPIO_MODE_OUTPUT_PP;
  GPIO_InitStruct.Pull = GPIO_NOPULL;
  GPIO_InitStruct.Speed = GPIO_SPEED_FREQ_LOW;
  HAL_GPIO_Init(GPIOB, &GPIO_InitStruct);

  /* USER CODE BEGIN MX_GPIO_Init_2 */
  /* TIM4 PWM Pins Configuration:
     PA6 -> TIM4_CH1
     PA7 -> TIM4_CH2
     PB8 -> TIM4_CH3
     PB9 -> TIM4_CH4
  */
  GPIO_InitStruct.Mode = GPIO_MODE_AF_PP;
  GPIO_InitStruct.Pull = GPIO_NOPULL;
  GPIO_InitStruct.Speed = GPIO_SPEED_FREQ_LOW;

  // --- Channel 1 and 2 on Port A ---
  GPIO_InitStruct.Alternate = GPIO_AF2_TIM4;
  GPIO_InitStruct.Pin = GPIO_PIN_6 | GPIO_PIN_7;
  HAL_GPIO_Init(GPIOA, &GPIO_InitStruct);

  // --- Channel 3 and 4 on Port B ---
  GPIO_InitStruct.Alternate = GPIO_AF2_TIM4;
  GPIO_InitStruct.Pin = GPIO_PIN_8 | GPIO_PIN_9;
  HAL_GPIO_Init(GPIOB, &GPIO_InitStruct);

  /* USER CODE END MX_GPIO_Init_2 */
}

void Error_Handler(void)
{
  __disable_irq();
  while (1)
  {
  }
}
